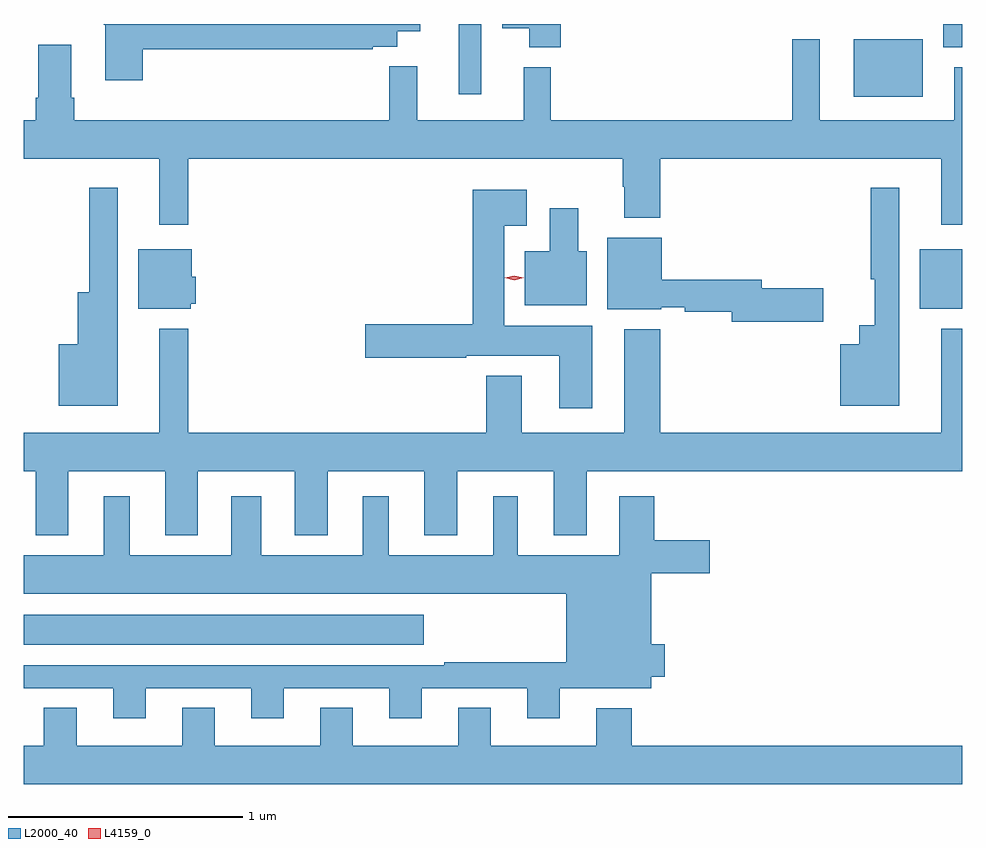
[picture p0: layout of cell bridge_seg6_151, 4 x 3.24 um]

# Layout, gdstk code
import gdstk
lib = gdstk.Library(unit=1e-6, precision=1e-09)
def R(c, l, rs):  # rectangles x0, y0, x1, y1
    for r in rs: c.add(gdstk.rectangle(r[:2], r[2:], *l))
def P(c, l, *ps):  # polygons
    for p in ps: c.add(gdstk.Polygon(p, *l))
L2000_40 = (2000, 40)
L4159_0 = (4159, 0)

bridge_seg6_151 = lib.new_cell('bridge_seg6_151')
R(bridge_seg6_151, L2000_40, [(525.074,985.226,526.78,985.354), (528.893,986.657,529.074,986.911), (528.611,987.56,528.904,987.805), (526.928,987.57,527.025,987.87), (528.992,987.77,529.074,987.87)])
P(bridge_seg6_151, L2000_40, [(527.363,987.87),(527.114,987.87),(527.114,987.851),(527.228,987.851),(527.228,987.77),(527.363,987.77)],
  [(525.581,987.762),(526.562,987.762),(526.562,987.774),(526.666,987.774),(526.666,987.839),(526.765,987.839),(526.765,987.87),(525.415,987.87),(525.415,987.867),(525.422,987.867),(525.422,987.63),(525.581,987.63)],
  [(525.775,987.296),(527.626,987.296),(527.626,987.176),(527.633,987.176),(527.633,987.044),(527.786,987.044),(527.786,987.296),(528.983,987.296),(528.983,987.015),(529.074,987.015),(529.074,987.685),(529.04,987.685),(529.04,987.46),(528.466,987.46),(528.466,987.805),(528.349,987.805),(528.349,987.46),(527.321,987.46),(527.321,987.685),(527.204,987.685),(527.204,987.46),(526.751,987.46),(526.751,987.689),(526.633,987.689),(526.633,987.46),(525.29,987.46),(525.29,987.556),(525.277,987.556),(525.277,987.781),(525.137,987.781),(525.137,987.556),(525.125,987.556),(525.125,987.46),(525.074,987.46),(525.074,987.296),(525.653,987.296),(525.653,987.015),(525.775,987.015)],
  [(525.475,987.172),(525.354,987.172),(525.354,986.728),(525.305,986.728),(525.305,986.506),(525.224,986.506),(525.224,986.243),(525.475,986.243)],
  [(528.805,987.172),(528.684,987.172),(528.684,986.783),(528.701,986.783),(528.701,986.587),(528.635,986.587),(528.635,986.506),(528.554,986.506),(528.554,986.243),(528.805,986.243)],
  [(527.497,986.584),(527.122,986.584),(527.122,987.011),(527.218,987.011),(527.218,987.163),(526.988,987.163),(526.988,986.591),(526.53,986.591),(526.53,986.449),(526.961,986.449),(526.961,986.456),(527.357,986.456),(527.357,986.232),(527.497,986.232)],
  [(527.473,986.902),(527.437,986.902),(527.437,987.085),(527.315,987.085),(527.315,986.902),(527.21,986.902),(527.21,986.672),(527.473,986.672)],
  [(528.481,986.744),(528.22,986.744),(528.22,986.78),(527.794,986.78),(527.794,986.959),(527.561,986.959),(527.561,986.654),(527.79,986.654),(527.79,986.664),(527.89,986.664),(527.89,986.644),(528.092,986.644),(528.092,986.602),(528.481,986.602)],
  [(525.786,986.679),(525.808,986.679),(525.808,986.793),(525.79,986.793),(525.79,986.911),(525.563,986.911),(525.563,986.657),(525.786,986.657)],
  [(525.265,985.964),(525.677,985.964),(525.677,985.691),(525.817,985.691),(525.817,985.964),(526.229,985.964),(526.229,985.691),(526.369,985.691),(526.369,985.964),(526.781,985.964),(526.781,985.691),(526.921,985.691),(526.921,985.964),(527.333,985.964),(527.333,985.691),(527.473,985.691),(527.473,985.964),(529.074,985.964),(529.074,986.572),(528.983,986.572),(528.983,986.128),(527.786,986.128),(527.786,986.569),(527.633,986.569),(527.633,986.128),(527.197,986.128),(527.197,986.371),(527.045,986.371),(527.045,986.128),(525.775,986.128),(525.775,986.572),(525.653,986.572),(525.653,986.128),(525.074,986.128),(525.074,985.964),(525.125,985.964),(525.125,985.691),(525.265,985.691)],
  [(525.595,985.041),(526.043,985.041),(526.043,984.912),(526.183,984.912),(526.183,985.041),(526.631,985.041),(526.631,984.912),(526.771,984.912),(526.771,985.041),(527.219,985.041),(527.219,984.912),(527.359,984.912),(527.359,985.04),(527.749,985.04),(527.749,985.09),(527.806,985.09),(527.806,985.227),(527.749,985.227),(527.749,985.529),(527.998,985.529),(527.998,985.671),(527.762,985.671),(527.762,985.858),(527.612,985.858),(527.612,985.606),(527.179,985.606),(527.179,985.858),(527.075,985.858),(527.075,985.606),(526.63,985.606),(526.63,985.858),(526.52,985.858),(526.52,985.606),(526.087,985.606),(526.087,985.858),(525.959,985.858),(525.959,985.606),(525.526,985.606),(525.526,985.858),(525.416,985.858),(525.416,985.606),(525.074,985.606),(525.074,985.442),(527.387,985.442),(527.387,985.15),(526.867,985.15),(526.867,985.137),(525.074,985.137),(525.074,985.041),(525.455,985.041),(525.455,984.912),(525.595,984.912)],
  [(529.074,984.796),(527.666,984.796),(527.666,984.955),(527.513,984.955),(527.513,984.796),(527.065,984.796),(527.065,984.956),(526.925,984.956),(526.925,984.796),(526.477,984.796),(526.477,984.956),(526.337,984.956),(526.337,984.796),(525.889,984.796),(525.889,984.956),(525.749,984.956),(525.749,984.796),(525.301,984.796),(525.301,984.956),(525.161,984.956),(525.161,984.796),(525.074,984.796),(525.074,984.632),(529.074,984.632)])
P(bridge_seg6_151, L4159_0, [(527.165,986.778),(527.124,986.788),(527.124,986.788),(527.124,986.788),(527.165,986.798),(527.206,986.788),(527.206,986.788),(527.206,986.788)])

lib.write_gds('bridge_seg6_151.gds')
